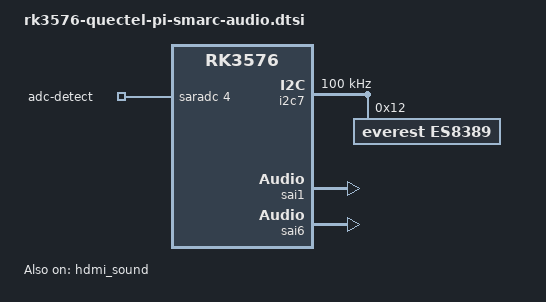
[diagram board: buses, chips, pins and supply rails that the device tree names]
/{
    es8389_sound: es8389-sound {
		status = "okay";
		compatible = "rockchip,multicodecs-card";
		rockchip,card-name = "rockchip-es8389";

		// hp-det-gpio = <&gpio2 RK_PB7 GPIO_ACTIVE_LOW>;  // GPIO2_B7 used for UART8 CTS
		io-channels = <&saradc 3>;
		io-channel-names = "adc-detect";
		keyup-threshold-microvolt = <1800000>;
		poll-interval = <100>;
		//spk-con-gpio = <&gpio2 RK_PD7 GPIO_ACTIVE_HIGH>;
		//hp-con-gpio = <&gpio3 RK_PD6 GPIO_ACTIVE_HIGH>;
		rockchip,pre-power-on-delay-ms = <30>;
		rockchip,post-power-down-delay-ms = <40>;
		rockchip,format = "i2s";
		rockchip,mclk-fs = <256>;
		rockchip,cpu = <&sai1>;
		rockchip,codec = <&es8389>;
		// pinctrl-names and pinctrl-0 removed: hp-det GPIO disabled due to UART8 CTS conflict
		play-pause-key {
			label = "playpause";
			linux,code = <KEY_PLAYPAUSE>;
			press-threshold-microvolt = <2000>;
		};
	};

    pdmics: dummy-codec {
		status = "disabled";
		compatible = "rockchip,dummy-codec";
		#sound-dai-cells = <0>;
	};

	pdm_mic_array: pdm-mic-array {
		status = "disabled";
		compatible = "simple-audio-card";
		simple-audio-card,name = "rockchip,pdm-mic-array";
		simple-audio-card,cpu {
			sound-dai = <&pdm1>;
		};
		simple-audio-card,codec {
			sound-dai = <&pdmics>;
		};
	};

    // codec_vdd3v3 regulator disabled: GPIO3_B0 used for USB_PCIE_CTL on SMARC board
    // speak_pa_en regulator disabled: GPIO2_D7 used for Ethernet on SMARC board
};

&i2c7 {
	status = "okay";
	clock-frequency = <100000>;
	pinctrl-names = "default";
	pinctrl-0 = <&i2c7m1_xfer>;  // Try i2c7m0 first: GPIO1_B0(SCL) + GPIO1_B3(SDA)
	es8389: es8389@12 {
		status = "okay";
		#sound-dai-cells = <0>;
		compatible = "everest,es8389";
        // vdd_3v3-supply = <&codec_vdd3v3>;  // codec_vdd3v3 disabled on SMARC board
		reg = <0x12>;
		clocks = <&mclkout_sai1>;
		clock-names = "mclk";
		assigned-clocks = <&mclkout_sai1>;
		assigned-clock-rates = <12288000>;
		pinctrl-names = "default";
		pinctrl-0 = <&sai1m0_mclk>;
	};
};



&es8389_sound {
	// hp-det-gpio = <&gpio2 RK_PB7 GPIO_ACTIVE_LOW>;  // GPIO2_B7 used for UART8 CTS
	io-channels = <&saradc 4>;
	io-channel-names = "adc-detect";
	keyup-threshold-microvolt = <595000>;
	poll-interval = <100>;
    play-pause-key {
            label = "playpause";
            linux,code = <KEY_PLAYPAUSE>;
            press-threshold-microvolt = <33000>;
    };
               
    vol-up-key {
            label = "vol_up";
            linux,code = <KEY_VOLUMEUP>;
            press-threshold-microvolt = <110000>;
    };
     vol-down-key {
             label = "vol_down";
             linux,code = <KEY_VOLUMEDOWN>;
             press-threshold-microvolt = <195000>;
    };	
};

&pinctrl {
	// Minimal configuration - I2C7 pinctrl is handled by &i2c7m0_xfer reference
	// All other pinctrl entries removed due to GPIO conflicts on SMARC board:
	// - GPIO2_B7 (hp-det) used for UART8 CTS
	// - GPIO2_D7 (speak_pa_en) used for Ethernet
	// - GPIO3_B0 (codec_vdd3v3) used for USB_PCIE_CTL
};

&sai1 {
    status = "okay";
    pinctrl-names = "default";
    rockchip,sai-tx-route = <2 1 0 3>;
    //rockchip,sai-rx-route = <0 1 2 3>;  // 标准RX路由：SDI0→Slot0, SDI1→Slot1, SDI2→Slot2, SDI3→Slot3
    pinctrl-0 = <&sai1m0_lrck
             &sai1m0_sclk
             &sai1m0_sdi0
             &sai1m0_sdo2>;
};

&hdmi_sound {
	status = "okay";
};

&sai6 {
	status = "okay";
	rockchip,sai-tx-route = <0 1 2 3>;
};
